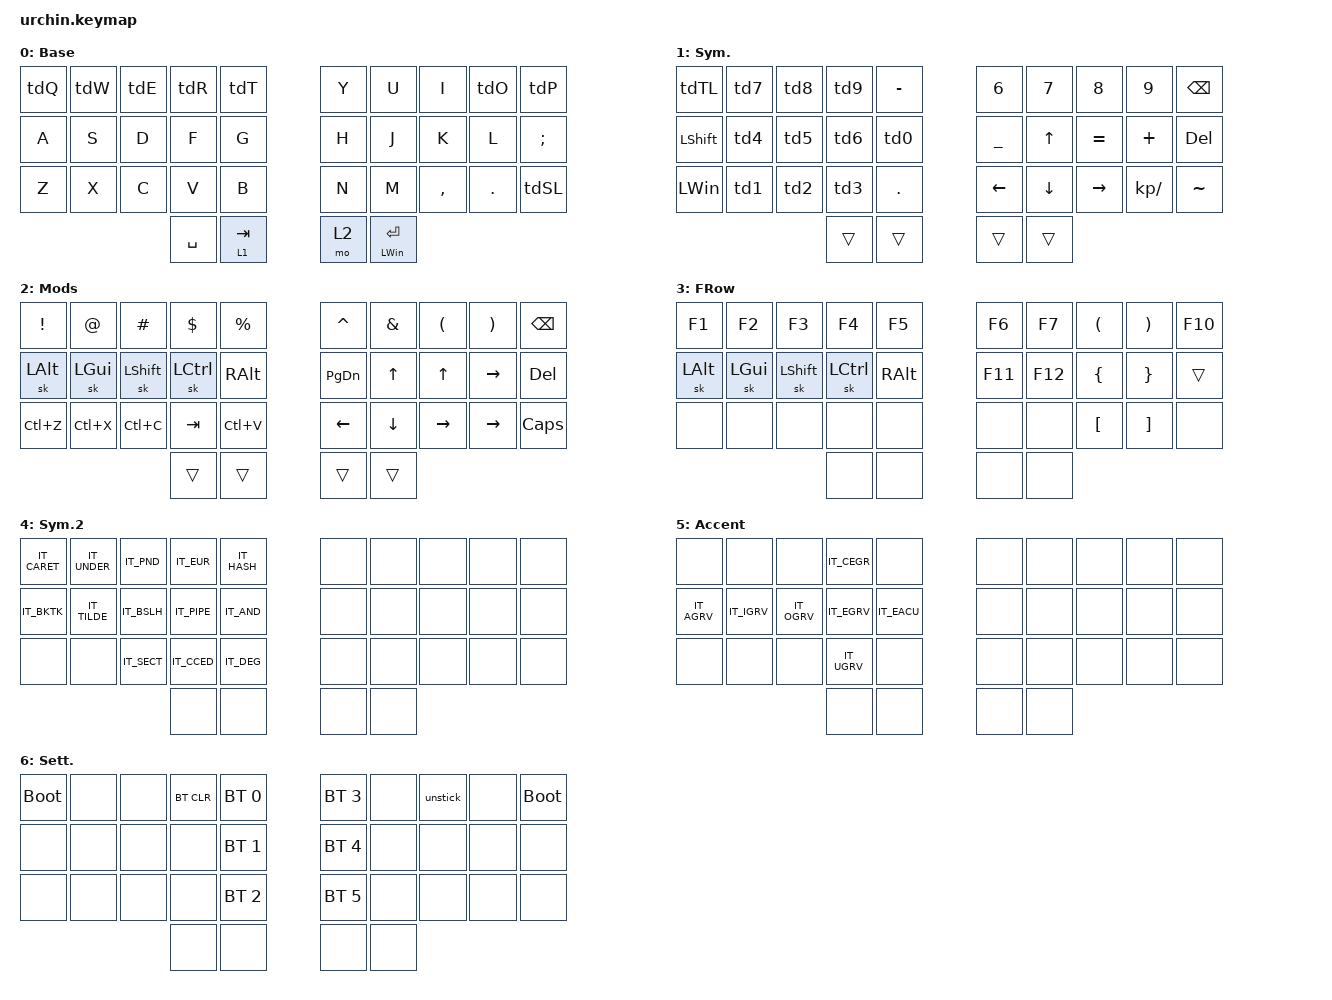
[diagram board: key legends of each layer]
/*
 * Copyright (c) 2020 duckyb
 *
 * SPDX-License-Identifier: MIT
 */

#include "keymap_italian.h"
#include <behaviors.dtsi>
#include <dt-bindings/zmk/bt.h>
#include <dt-bindings/zmk/keys.h>

// Layer definitions

#define BASE 0
#define SYM 1
#define EXT 2
#define FNC 3
#define SYM2 4
#define ACCENT 5
#define SETTINGS 6

// -----------------

&sk {
    // don't release mods on other mods presses

    ignore-modifiers;
};

/ {
    behaviors {
        tdQ: tap_dance_Q {
            compatible = "zmk,behavior-tap-dance";
            #binding-cells = <0>;
            tapping-term-ms = <180>;
            bindings = <&kp Q>, <&kp LS(Q)>;
        };

        tdW: tap_dance_W {
            compatible = "zmk,behavior-tap-dance";
            #binding-cells = <0>;
            tapping-term-ms = <180>;
            bindings = <&kp W>, <&kp LS(W)>;
        };

        tdE: tap_dance_E {
            compatible = "zmk,behavior-tap-dance";
            #binding-cells = <0>;
            tapping-term-ms = <180>;
            bindings = <&kp E>, <&kp LS(E)>;
        };

        tdR: tap_dance_R {
            compatible = "zmk,behavior-tap-dance";
            #binding-cells = <0>;
            tapping-term-ms = <180>;
            bindings = <&kp R>, <&kp LS(R)>;
        };

        tdT: tap_dance_T {
            compatible = "zmk,behavior-tap-dance";
            #binding-cells = <0>;
            tapping-term-ms = <180>;
            bindings = <&kp T>, <&kp LS(T)>;
        };

        tdO: tap_dance_O {
            compatible = "zmk,behavior-tap-dance";
            #binding-cells = <0>;
            tapping-term-ms = <180>;
            bindings = <&kp O>, <&kp LS(O)>;
        };

        tdP: tap_dance_P {
            compatible = "zmk,behavior-tap-dance";
            #binding-cells = <0>;
            tapping-term-ms = <180>;
            bindings = <&kp P>, <&kp LS(P)>;
        };

        tdSL: tap_dance_SL {
            compatible = "zmk,behavior-tap-dance";
            #binding-cells = <0>;
            tapping-term-ms = <180>;
            bindings = <&kp FSLH>, <&kp LS(FSLH)>;
        };

        td1: tap_dance_1 {
            compatible = "zmk,behavior-tap-dance";
            #binding-cells = <0>;
            tapping-term-ms = <180>;
            bindings = <&kp N1>, <&kp LS(N1)>;
        };

        td2: tap_dance_2 {
            compatible = "zmk,behavior-tap-dance";
            #binding-cells = <0>;
            tapping-term-ms = <180>;
            bindings = <&kp N2>, <&kp LS(N2)>;
        };

        td3: tap_dance_3 {
            compatible = "zmk,behavior-tap-dance";
            #binding-cells = <0>;
            tapping-term-ms = <180>;
            bindings = <&kp N3>, <&kp LS(N3)>;
        };

        td4: tap_dance_4 {
            compatible = "zmk,behavior-tap-dance";
            #binding-cells = <0>;
            tapping-term-ms = <180>;
            bindings = <&kp N4>, <&kp LS(N4)>;
        };

        td5: tap_dance_5 {
            compatible = "zmk,behavior-tap-dance";
            #binding-cells = <0>;
            tapping-term-ms = <180>;
            bindings = <&kp N5>, <&kp LS(N5)>;
        };

        td6: tap_dance_6 {
            compatible = "zmk,behavior-tap-dance";
            #binding-cells = <0>;
            tapping-term-ms = <180>;
            bindings = <&kp N6>, <&kp LS(N6)>;
        };

        td7: tap_dance_7 {
            compatible = "zmk,behavior-tap-dance";
            #binding-cells = <0>;
            tapping-term-ms = <180>;
            bindings = <&kp N7>, <&kp LS(N7)>;
        };

        td8: tap_dance_8 {
            compatible = "zmk,behavior-tap-dance";
            #binding-cells = <0>;
            tapping-term-ms = <180>;
            bindings = <&kp N8>, <&kp LS(N8)>;
        };

        td9: tap_dance_9 {
            compatible = "zmk,behavior-tap-dance";
            #binding-cells = <0>;
            tapping-term-ms = <180>;
            bindings = <&kp N9>, <&kp LS(N9)>;
        };

        td0: tap_dance_0 {
            compatible = "zmk,behavior-tap-dance";
            #binding-cells = <0>;
            tapping-term-ms = <180>;
            bindings = <&kp N0>, <&kp LS(N0)>;
        };

        tdTL: tap_dance_gl {
            compatible = "zmk,behavior-tap-dance";
            #binding-cells = <0>;
            tapping-term-ms = <180>;
            bindings = <&kp ESCAPE>, <&kp TILDE>;
        };
    };

    behaviors {
        // Enables holding the first mod-tap key
        // by performing a tap-release-hold sequence.
        // To use it: "&qt KEYCODE1 KEYCODE2"

        qt: quick_tap {
            compatible = "zmk,behavior-hold-tap";
            label = "QUICK_TAP";
            #binding-cells = <2>;
            flavor = "hold-preferred";
            tapping-term-ms = <400>;
            quick-tap-ms = <400>;
            bindings = <&kp>, <&kp>;
        };
    };

    macros {
        // sometimes my device thinks a modifier is being held down
        // pressing all modifiers fixes it.

        unstick: unstick {
            label = "ZM_unstick";
            compatible = "zmk,behavior-macro";
            #binding-cells = <0>;
            bindings = <&kp LSHIFT &kp RSHIFT &kp LCTRL &kp RCTRL &kp LALT &kp RALT &kp LGUI &kp RGUI>;
        };
    };

    combos {
        compatible = "zmk,combos";

        // both right thumb keys

        combo_accent {
            timeout-ms = <200>;
            key-positions = <32 33>;
            bindings = <&to 2>;
        };

        // internal-left & external-right thumb keys

        combo_sym2 {
            timeout-ms = <200>;
            key-positions = <33 32 27>;
            bindings = <&to 0>;
        };

        // both left thumb keys

        combo_settings {
            timeout-ms = <200>;
            key-positions = <30 31>;
            bindings = <&mo SETTINGS>;
        };

        // left index & middle fingers (home-row)
        // hold control & space for Adobe workflow
    };

    keymap {
        compatible = "zmk,keymap";

        // Base alpha layer

        default_layer {
            label = "Base";
            bindings = <
&tdQ     &tdW     &tdE     &tdR         &tdT         &kp Y    &kp U                 &kp I        &tdO       &tdP
&kp A    &kp S    &kp D    &kp F        &kp G        &kp H    &kp J                 &kp K        &kp L      &kp SEMI
&kp Z    &kp X    &kp C    &kp V        &kp B        &kp N    &kp M                 &kp COMMA    &kp DOT    &tdSL
                           &kp SPACE    &lt 1 TAB    &mo 2    &qt LEFT_WIN ENTER
            >;
        };

        // Numbers and high frequency symbols

        sym_layer {
            label = "Sym.";
            bindings = <
&tdTL             &td7    &td8    &td9      &kp MINUS     &kp N6       &kp N7      &kp N8       &kp N9           &kp BACKSPACE
&kp LEFT_SHIFT    &td4    &td5    &td6      &td0          &kp UNDER    &kp UP      &kp EQUAL    &kp PLUS         &kp DELETE
&kp LEFT_WIN      &td1    &td2    &td3      &kp PERIOD    &kp LEFT     &kp DOWN    &kp RIGHT    &kp KP_DIVIDE    &kp TILDE
                                  &trans    &trans        &trans       &trans
            >;
        };

        // Main modifiers and arrow keys

        ext_layer {
            label = "Mods";
            bindings = <
&kp EXCL     &kp AT       &kp POUND     &kp DOLLAR    &kp PERCENT    &kp CARET    &kp AMPS    &kp LEFT_PARENTHESIS    &kp RIGHT_PARENTHESIS    &kp BACKSPACE
&sk LALT     &sk LGUI     &sk LSHIFT    &sk LCTRL     &kp RALT       &kp PG_DN    &kp UP      &kp UP                  &kp RIGHT                &kp DEL
&kp LC(Z)    &kp LC(X)    &kp LC(C)     &kp TAB       &kp LC(V)      &kp LEFT     &kp DOWN    &kp RIGHT               &kp RIGHT                &kp CAPS
                                        &trans        &trans         &trans       &trans
            >;
        };

        // Function keys with modifiers

        fnc_layer {
            label = "FRow";
            bindings = <
&kp F1      &kp F2      &kp F3        &kp F4       &kp F5      &kp F6     &kp F7     &kp LEFT_PARENTHESIS    &kp RIGHT_PARENTHESIS    &kp F10
&sk LALT    &sk LGUI    &sk LSHIFT    &sk LCTRL    &kp RALT    &kp F11    &kp F12    &kp LEFT_BRACE          &kp RIGHT_BRACE          &trans
&none       &none       &none         &none        &none       &none      &none      &kp LEFT_BRACKET        &kp RIGHT_BRACKET        &none
                                      &none        &none       &none      &none
            >;
        };

        // Low frequency symbols.

        symbols_2_layer {
            label = "Sym.2";
            bindings = <
&kp IT_CARET    &kp IT_UNDER    &kp IT_PND     &kp IT_EUR     &kp IT_HASH    &none    &none    &none    &none    &none
&kp IT_BKTK     &kp IT_TILDE    &kp IT_BSLH    &kp IT_PIPE    &kp IT_AND     &none    &none    &none    &none    &none
&none           &none           &kp IT_SECT    &kp IT_CCED    &kp IT_DEG     &none    &none    &none    &none    &none
                                               &none          &none          &none    &none
            >;
        };

        // Used to type regional accents.

        accent_layer {
            label = "Accent";
            bindings = <
&none          &none          &none          &kp IT_CEGR    &none          &none    &none    &none    &none    &none
&kp IT_AGRV    &kp IT_IGRV    &kp IT_OGRV    &kp IT_EGRV    &kp IT_EACU    &none    &none    &none    &none    &none
&none          &none          &none          &kp IT_UGRV    &none          &none    &none    &none    &none    &none
                                             &none          &none          &none    &none
            >;
        };

        // Used to change the keyboard's settings.

        settings_layer {
            label = "Sett.";
            bindings = <
&bootloader    &none    &none    &bt BT_CLR    &bt BT_SEL 0    &bt BT_SEL 3    &none    &unstick    &none    &bootloader
&none          &none    &none    &none         &bt BT_SEL 1    &bt BT_SEL 4    &none    &none       &none    &none
&none          &none    &none    &none         &bt BT_SEL 2    &bt BT_SEL 5    &none    &none       &none    &none
                                 &none         &none           &none           &none
            >;
        };
    };
};
